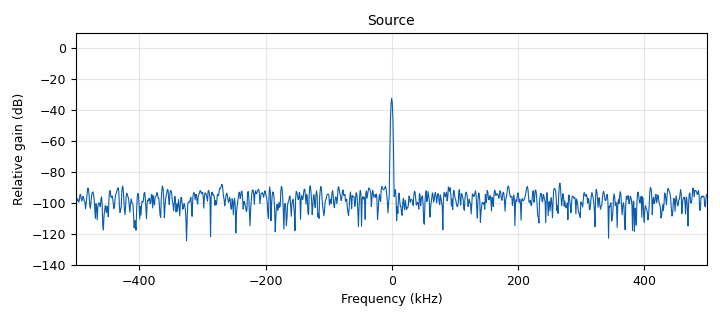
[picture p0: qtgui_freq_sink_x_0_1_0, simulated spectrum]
<?xml version='1.0' encoding='utf-8'?>
<?grc format='1' created='3.7.9'?>
<flow_graph>
<block>
<key>options</key>
<param><key>id</key><value>top_block</value></param>
<param><key>category</key><value>Custom</value></param>
<param><key>generate_options</key><value>qt_gui</value></param>
</block>
<block>
<key>variable_qtgui_entry</key>
<param><key>id</key><value>amp1</value></param>
<param><key>value</key><value>0.1</value></param>
<param><key>gui_hint</key><value>tabA@0</value></param>
<param><key>type</key><value>real</value></param>
</block>
<block>
<key>variable_qtgui_entry</key>
<param><key>id</key><value>amp2</value></param>
<param><key>value</key><value>0.1</value></param>
<param><key>gui_hint</key><value>tabA@0</value></param>
<param><key>type</key><value>real</value></param>
</block>
<block>
<key>variable_qtgui_entry</key>
<param><key>id</key><value>clock_step</value></param>
<param><key>value</key><value>1.0001</value></param>
<param><key>gui_hint</key><value>tabA@0</value></param>
<param><key>type</key><value>real</value></param>
</block>
<block>
<key>variable_qtgui_range</key>
<param><key>id</key><value>freq1</value></param>
<param><key>value</key><value>0</value></param>
<param><key>gui_hint</key><value>tabA@0</value></param>
<param><key>orient</key><value>Qt.Horizontal</value></param>
<param><key>start</key><value>-128</value></param>
<param><key>step</key><value>1</value></param>
<param><key>stop</key><value>128</value></param>
</block>
<block>
<key>variable_qtgui_range</key>
<param><key>id</key><value>freq2</value></param>
<param><key>value</key><value>0</value></param>
<param><key>gui_hint</key><value>tabA@0</value></param>
<param><key>orient</key><value>Qt.Horizontal</value></param>
<param><key>start</key><value>-128</value></param>
<param><key>step</key><value>1</value></param>
<param><key>stop</key><value>128</value></param>
</block>
<block>
<key>variable_qtgui_entry</key>
<param><key>id</key><value>namp</value></param>
<param><key>value</key><value>0.001</value></param>
<param><key>gui_hint</key><value>tabA@0</value></param>
<param><key>type</key><value>real</value></param>
</block>
<block>
<key>variable_qtgui_entry</key>
<param><key>id</key><value>samp_rate</value></param>
<param><key>value</key><value>1e6</value></param>
<param><key>gui_hint</key><value>tabA@0</value></param>
<param><key>type</key><value>real</value></param>
</block>
<block>
<key>variable_uhd_device3</key>
<param><key>id</key><value>variable_uhd_device3_0</value></param>
<param><key>dev_addr</key><value>type=x300</value></param>
<param><key>dev_args</key><value>""</value></param>
</block>
<block>
<key>analog_const_source_x</key>
<param><key>id</key><value>analog_const_source_x_0</value></param>
<param><key>const</key><value>0</value></param>
<param><key>type</key><value>float</value></param>
</block>
<block>
<key>analog_const_source_x</key>
<param><key>id</key><value>analog_const_source_x_0_0</value></param>
<param><key>const</key><value>0</value></param>
<param><key>type</key><value>float</value></param>
</block>
<block>
<key>analog_const_source_x</key>
<param><key>id</key><value>analog_const_source_x_1</value></param>
<param><key>const</key><value>amp2</value></param>
<param><key>type</key><value>float</value></param>
</block>
<block>
<key>analog_fastnoise_source_x</key>
<param><key>id</key><value>analog_fastnoise_source_x_0</value></param>
<param><key>amp</key><value>namp</value></param>
<param><key>noise_type</key><value>analog.GR_GAUSSIAN</value></param>
<param><key>type</key><value>complex</value></param>
<param><key>seed</key><value>0</value></param>
<param><key>samples</key><value>8192</value></param>
</block>
<block>
<key>analog_sig_source_x</key>
<param><key>id</key><value>analog_sig_source_x_0</value></param>
<param><key>amp</key><value>1</value></param>
<param><key>freq</key><value>samp_rate*freq1/256</value></param>
<param><key>offset</key><value>0</value></param>
<param><key>type</key><value>complex</value></param>
<param><key>samp_rate</key><value>samp_rate</value></param>
<param><key>waveform</key><value>analog.GR_COS_WAVE</value></param>
</block>
<block>
<key>analog_sig_source_x</key>
<param><key>id</key><value>analog_sig_source_x_0_0</value></param>
<param><key>amp</key><value>1</value></param>
<param><key>freq</key><value>samp_rate*freq2/256</value></param>
<param><key>offset</key><value>0</value></param>
<param><key>type</key><value>complex</value></param>
<param><key>samp_rate</key><value>samp_rate</value></param>
<param><key>waveform</key><value>analog.GR_COS_WAVE</value></param>
</block>
<block>
<key>analog_sig_source_x</key>
<param><key>id</key><value>analog_sig_source_x_1</value></param>
<param><key>amp</key><value>amp1</value></param>
<param><key>freq</key><value>samp_rate/10000</value></param>
<param><key>offset</key><value>0</value></param>
<param><key>type</key><value>float</value></param>
<param><key>samp_rate</key><value>samp_rate</value></param>
<param><key>waveform</key><value>analog.GR_SIN_WAVE</value></param>
</block>
<block>
<key>blocks_add_xx</key>
<param><key>id</key><value>blocks_add_xx_0</value></param>
<param><key>type</key><value>complex</value></param>
<param><key>num_inputs</key><value>3</value></param>
</block>
<block>
<key>blocks_deinterleave</key>
<param><key>id</key><value>blocks_deinterleave_0_0</value></param>
<param><key>type</key><value>complex</value></param>
<param><key>num_streams</key><value>16</value></param>
</block>
<block>
<key>blocks_deinterleave</key>
<param><key>id</key><value>blocks_deinterleave_0_0_0</value></param>
<param><key>type</key><value>complex</value></param>
<param><key>num_streams</key><value>16</value></param>
</block>
<block>
<key>blocks_float_to_complex</key>
<param><key>id</key><value>blocks_float_to_complex_0</value></param>
</block>
<block>
<key>blocks_float_to_complex</key>
<param><key>id</key><value>blocks_float_to_complex_0_0</value></param>
</block>
<block>
<key>blocks_multiply_xx</key>
<param><key>id</key><value>blocks_multiply_xx_0</value></param>
<param><key>type</key><value>complex</value></param>
</block>
<block>
<key>blocks_multiply_xx</key>
<param><key>id</key><value>blocks_multiply_xx_0_0</value></param>
<param><key>type</key><value>complex</value></param>
</block>
<block>
<key>blocks_null_sink</key>
<param><key>id</key><value>blocks_null_sink_0_0</value></param>
<param><key>bus_conns</key><value>[[0,],]</value></param>
<param><key>type</key><value>complex</value></param>
</block>
<block>
<key>blocks_null_sink</key>
<param><key>id</key><value>blocks_null_sink_0_0_0</value></param>
<param><key>bus_conns</key><value>[[0,],]</value></param>
<param><key>type</key><value>complex</value></param>
</block>
<block>
<key>blocks_null_sink</key>
<param><key>id</key><value>blocks_null_sink_0_0_1</value></param>
<param><key>bus_conns</key><value>[[0,],]</value></param>
<param><key>type</key><value>complex</value></param>
</block>
<block>
<key>blocks_null_sink</key>
<param><key>id</key><value>blocks_null_sink_0_0_2</value></param>
<param><key>bus_conns</key><value>[[0,],]</value></param>
<param><key>type</key><value>complex</value></param>
</block>
<block>
<key>blocks_null_sink</key>
<param><key>id</key><value>blocks_null_sink_0_1</value></param>
<param><key>bus_conns</key><value>[[0,],]</value></param>
<param><key>type</key><value>complex</value></param>
</block>
<block>
<key>blocks_null_sink</key>
<param><key>id</key><value>blocks_null_sink_0_1_0</value></param>
<param><key>bus_conns</key><value>[[0,],]</value></param>
<param><key>type</key><value>complex</value></param>
</block>
<block>
<key>blocks_null_sink</key>
<param><key>id</key><value>blocks_null_sink_0_1_0_0</value></param>
<param><key>bus_conns</key><value>[[0,],]</value></param>
<param><key>type</key><value>complex</value></param>
</block>
<block>
<key>blocks_null_sink</key>
<param><key>id</key><value>blocks_null_sink_0_1_0_0_0</value></param>
<param><key>bus_conns</key><value>[[0,],]</value></param>
<param><key>type</key><value>complex</value></param>
</block>
<block>
<key>blocks_null_sink</key>
<param><key>id</key><value>blocks_null_sink_0_1_0_0_1</value></param>
<param><key>bus_conns</key><value>[[0,],]</value></param>
<param><key>type</key><value>complex</value></param>
</block>
<block>
<key>blocks_null_sink</key>
<param><key>id</key><value>blocks_null_sink_0_1_0_1</value></param>
<param><key>bus_conns</key><value>[[0,],]</value></param>
<param><key>type</key><value>complex</value></param>
</block>
<block>
<key>blocks_null_sink</key>
<param><key>id</key><value>blocks_null_sink_0_1_0_2</value></param>
<param><key>bus_conns</key><value>[[0,],]</value></param>
<param><key>type</key><value>complex</value></param>
</block>
<block>
<key>blocks_null_sink</key>
<param><key>id</key><value>blocks_null_sink_0_1_1</value></param>
<param><key>bus_conns</key><value>[[0,],]</value></param>
<param><key>type</key><value>complex</value></param>
</block>
<block>
<key>blocks_null_sink</key>
<param><key>id</key><value>blocks_null_sink_0_1_2</value></param>
<param><key>bus_conns</key><value>[[0,],]</value></param>
<param><key>type</key><value>complex</value></param>
</block>
<block>
<key>blocks_null_sink</key>
<param><key>id</key><value>blocks_null_sink_0_2</value></param>
<param><key>bus_conns</key><value>[[0,],]</value></param>
<param><key>type</key><value>complex</value></param>
</block>
<block>
<key>blocks_null_sink</key>
<param><key>id</key><value>blocks_null_sink_0_3</value></param>
<param><key>bus_conns</key><value>[[0,],]</value></param>
<param><key>type</key><value>complex</value></param>
</block>
<block>
<key>blocks_throttle</key>
<param><key>id</key><value>blocks_throttle_0</value></param>
<param><key>samples_per_second</key><value>samp_rate</value></param>
<param><key>type</key><value>complex</value></param>
</block>
<block>
<key>qtgui_freq_sink_x</key>
<param><key>id</key><value>qtgui_freq_sink_x_0_1_0</value></param>
<param><key>bw</key><value>samp_rate</value></param>
<param><key>fc</key><value>0</value></param>
<param><key>fftsize</key><value>1024</value></param>
<param><key>gui_hint</key><value>tabB@0</value></param>
<param><key>name</key><value>"Source"</value></param>
<param><key>showports</key><value>True</value></param>
<param><key>type</key><value>complex</value></param>
<param><key>wintype</key><value>firdes.WIN_BLACKMAN_hARRIS</value></param>
</block>
<block>
<key>qtgui_time_sink_x</key>
<param><key>id</key><value>qtgui_time_sink_x_0</value></param>
<param><key>gui_hint</key><value>tabB@1</value></param>
<param><key>color1</key><value>"blue"</value></param>
<param><key>label1</key><value></value></param>
<param><key>color2</key><value>"red"</value></param>
<param><key>label2</key><value></value></param>
<param><key>color3</key><value>"green"</value></param>
<param><key>label3</key><value></value></param>
<param><key>color4</key><value>"black"</value></param>
<param><key>label4</key><value></value></param>
<param><key>color5</key><value>"cyan"</value></param>
<param><key>label5</key><value></value></param>
<param><key>color6</key><value>"magenta"</value></param>
<param><key>label6</key><value></value></param>
<param><key>color7</key><value>"yellow"</value></param>
<param><key>label7</key><value></value></param>
<param><key>color8</key><value>"dark red"</value></param>
<param><key>label8</key><value></value></param>
<param><key>nconnections</key><value>4</value></param>
<param><key>size</key><value>1024</value></param>
<param><key>srate</key><value>samp_rate</value></param>
<param><key>type</key><value>complex</value></param>
</block>
<block>
<key>qtgui_time_sink_x</key>
<param><key>id</key><value>qtgui_time_sink_x_0_0</value></param>
<param><key>gui_hint</key><value>tabB@1</value></param>
<param><key>color1</key><value>"blue"</value></param>
<param><key>label1</key><value></value></param>
<param><key>color2</key><value>"red"</value></param>
<param><key>label2</key><value></value></param>
<param><key>color3</key><value>"green"</value></param>
<param><key>label3</key><value></value></param>
<param><key>color4</key><value>"black"</value></param>
<param><key>label4</key><value></value></param>
<param><key>color5</key><value>"cyan"</value></param>
<param><key>label5</key><value></value></param>
<param><key>color6</key><value>"magenta"</value></param>
<param><key>label6</key><value></value></param>
<param><key>color7</key><value>"yellow"</value></param>
<param><key>label7</key><value></value></param>
<param><key>color8</key><value>"dark red"</value></param>
<param><key>label8</key><value></value></param>
<param><key>nconnections</key><value>4</value></param>
<param><key>size</key><value>1024</value></param>
<param><key>srate</key><value>samp_rate</value></param>
<param><key>type</key><value>complex</value></param>
</block>
<block>
<key>qtgui_time_sink_x</key>
<param><key>id</key><value>qtgui_time_sink_x_0_0_0</value></param>
<param><key>gui_hint</key><value>tabB@1</value></param>
<param><key>color1</key><value>"blue"</value></param>
<param><key>label1</key><value></value></param>
<param><key>color2</key><value>"red"</value></param>
<param><key>label2</key><value></value></param>
<param><key>color3</key><value>"green"</value></param>
<param><key>label3</key><value></value></param>
<param><key>color4</key><value>"black"</value></param>
<param><key>label4</key><value></value></param>
<param><key>color5</key><value>"cyan"</value></param>
<param><key>label5</key><value></value></param>
<param><key>color6</key><value>"magenta"</value></param>
<param><key>label6</key><value></value></param>
<param><key>color7</key><value>"yellow"</value></param>
<param><key>label7</key><value></value></param>
<param><key>color8</key><value>"dark red"</value></param>
<param><key>label8</key><value></value></param>
<param><key>nconnections</key><value>4</value></param>
<param><key>size</key><value>1024</value></param>
<param><key>srate</key><value>samp_rate</value></param>
<param><key>type</key><value>complex</value></param>
</block>
<block>
<key>qtgui_time_sink_x</key>
<param><key>id</key><value>qtgui_time_sink_x_0_0_0_0</value></param>
<param><key>gui_hint</key><value>tabB@1</value></param>
<param><key>color1</key><value>"blue"</value></param>
<param><key>label1</key><value></value></param>
<param><key>color2</key><value>"red"</value></param>
<param><key>label2</key><value></value></param>
<param><key>color3</key><value>"green"</value></param>
<param><key>label3</key><value></value></param>
<param><key>color4</key><value>"black"</value></param>
<param><key>label4</key><value></value></param>
<param><key>color5</key><value>"cyan"</value></param>
<param><key>label5</key><value></value></param>
<param><key>color6</key><value>"magenta"</value></param>
<param><key>label6</key><value></value></param>
<param><key>color7</key><value>"yellow"</value></param>
<param><key>label7</key><value></value></param>
<param><key>color8</key><value>"dark red"</value></param>
<param><key>label8</key><value></value></param>
<param><key>nconnections</key><value>4</value></param>
<param><key>size</key><value>1024</value></param>
<param><key>srate</key><value>samp_rate</value></param>
<param><key>type</key><value>complex</value></param>
</block>
<block>
<key>qtgui_time_sink_x</key>
<param><key>id</key><value>qtgui_time_sink_x_0_1</value></param>
<param><key>_enabled</key><value>0</value></param>
<param><key>gui_hint</key><value>tabB@1</value></param>
<param><key>color1</key><value>"blue"</value></param>
<param><key>label1</key><value></value></param>
<param><key>marker1</key><value>1</value></param>
<param><key>style1</key><value>0</value></param>
<param><key>color2</key><value>"green"</value></param>
<param><key>label2</key><value></value></param>
<param><key>marker2</key><value>7</value></param>
<param><key>style2</key><value>0</value></param>
<param><key>size</key><value>1024</value></param>
<param><key>srate</key><value>samp_rate</value></param>
<param><key>type</key><value>complex</value></param>
</block>
<block>
<key>qtgui_tab_widget</key>
<param><key>id</key><value>tabA</value></param>
<param><key>label0</key><value>settings</value></param>
<param><key>num_tabs</key><value>1</value></param>
</block>
<block>
<key>qtgui_tab_widget</key>
<param><key>id</key><value>tabB</value></param>
<param><key>label0</key><value>input frequency domain </value></param>
<param><key>label1</key><value>output time domain</value></param>
<param><key>label2</key><value>output frequency domain </value></param>
<param><key>num_tabs</key><value>3</value></param>
</block>
<block>
<key>uhd_rfnoc_streamer_channelizer256</key>
<param><key>id</key><value>uhd_rfnoc_streamer_channelizer256_0</value></param>
<param><key>block_index</key><value>-1</value></param>
<param><key>device_index</key><value>-1</value></param>
</block>
<block>
<key>uhd_rfnoc_streamer_interpolator</key>
<param><key>id</key><value>uhd_rfnoc_streamer_interpolator_0</value></param>
<param><key>device_index</key><value>-1</value></param>
<param><key>block_index</key><value>-1</value></param>
<param><key>clock_step</key><value>clock_step</value></param>
<param><key>input_mux</key><value>0</value></param>
<param><key>reset</key><value>0</value></param>
</block>
<connection><source_block_id>analog_const_source_x_0</source_block_id><sink_block_id>blocks_float_to_complex_0</sink_block_id><source_key>0</source_key><sink_key>0</sink_key></connection>
<connection><source_block_id>analog_const_source_x_0_0</source_block_id><sink_block_id>blocks_float_to_complex_0_0</sink_block_id><source_key>0</source_key><sink_key>0</sink_key></connection>
<connection><source_block_id>analog_const_source_x_1</source_block_id><sink_block_id>blocks_float_to_complex_0_0</sink_block_id><source_key>0</source_key><sink_key>1</sink_key></connection>
<connection><source_block_id>analog_fastnoise_source_x_0</source_block_id><sink_block_id>blocks_add_xx_0</sink_block_id><source_key>0</source_key><sink_key>2</sink_key></connection>
<connection><source_block_id>analog_sig_source_x_0</source_block_id><sink_block_id>blocks_multiply_xx_0</sink_block_id><source_key>0</source_key><sink_key>0</sink_key></connection>
<connection><source_block_id>analog_sig_source_x_0_0</source_block_id><sink_block_id>blocks_multiply_xx_0_0</sink_block_id><source_key>0</source_key><sink_key>0</sink_key></connection>
<connection><source_block_id>analog_sig_source_x_1</source_block_id><sink_block_id>blocks_float_to_complex_0</sink_block_id><source_key>0</source_key><sink_key>1</sink_key></connection>
<connection><source_block_id>blocks_add_xx_0</source_block_id><sink_block_id>qtgui_freq_sink_x_0_1_0</sink_block_id><source_key>0</source_key><sink_key>0</sink_key></connection>
<connection><source_block_id>blocks_add_xx_0</source_block_id><sink_block_id>uhd_rfnoc_streamer_interpolator_0</sink_block_id><source_key>0</source_key><sink_key>0</sink_key></connection>
<connection><source_block_id>blocks_deinterleave_0_0</source_block_id><sink_block_id>blocks_null_sink_0_0_2</sink_block_id><source_key>0</source_key><sink_key>0</sink_key></connection>
<connection><source_block_id>blocks_deinterleave_0_0</source_block_id><sink_block_id>blocks_deinterleave_0_0_0</sink_block_id><source_key>1</source_key><sink_key>0</sink_key></connection>
<connection><source_block_id>blocks_deinterleave_0_0</source_block_id><sink_block_id>blocks_null_sink_0_1_0_0_0</sink_block_id><source_key>10</source_key><sink_key>0</sink_key></connection>
<connection><source_block_id>blocks_deinterleave_0_0</source_block_id><sink_block_id>blocks_null_sink_0_3</sink_block_id><source_key>11</source_key><sink_key>0</sink_key></connection>
<connection><source_block_id>blocks_deinterleave_0_0</source_block_id><sink_block_id>blocks_null_sink_0_0_1</sink_block_id><source_key>12</source_key><sink_key>0</sink_key></connection>
<connection><source_block_id>blocks_deinterleave_0_0</source_block_id><sink_block_id>blocks_null_sink_0_1_2</sink_block_id><source_key>13</source_key><sink_key>0</sink_key></connection>
<connection><source_block_id>blocks_deinterleave_0_0</source_block_id><sink_block_id>blocks_null_sink_0_1_0_2</sink_block_id><source_key>14</source_key><sink_key>0</sink_key></connection>
<connection><source_block_id>blocks_deinterleave_0_0</source_block_id><sink_block_id>blocks_null_sink_0_1_0_0_1</sink_block_id><source_key>15</source_key><sink_key>0</sink_key></connection>
<connection><source_block_id>blocks_deinterleave_0_0</source_block_id><sink_block_id>blocks_null_sink_0_0</sink_block_id><source_key>2</source_key><sink_key>0</sink_key></connection>
<connection><source_block_id>blocks_deinterleave_0_0</source_block_id><sink_block_id>blocks_null_sink_0_1</sink_block_id><source_key>3</source_key><sink_key>0</sink_key></connection>
<connection><source_block_id>blocks_deinterleave_0_0</source_block_id><sink_block_id>blocks_null_sink_0_1_0</sink_block_id><source_key>4</source_key><sink_key>0</sink_key></connection>
<connection><source_block_id>blocks_deinterleave_0_0</source_block_id><sink_block_id>blocks_null_sink_0_1_0_0</sink_block_id><source_key>5</source_key><sink_key>0</sink_key></connection>
<connection><source_block_id>blocks_deinterleave_0_0</source_block_id><sink_block_id>blocks_null_sink_0_2</sink_block_id><source_key>6</source_key><sink_key>0</sink_key></connection>
<connection><source_block_id>blocks_deinterleave_0_0</source_block_id><sink_block_id>blocks_null_sink_0_0_0</sink_block_id><source_key>7</source_key><sink_key>0</sink_key></connection>
<connection><source_block_id>blocks_deinterleave_0_0</source_block_id><sink_block_id>blocks_null_sink_0_1_1</sink_block_id><source_key>8</source_key><sink_key>0</sink_key></connection>
<connection><source_block_id>blocks_deinterleave_0_0</source_block_id><sink_block_id>blocks_null_sink_0_1_0_1</sink_block_id><source_key>9</source_key><sink_key>0</sink_key></connection>
<connection><source_block_id>blocks_deinterleave_0_0_0</source_block_id><sink_block_id>qtgui_time_sink_x_0</sink_block_id><source_key>0</source_key><sink_key>0</sink_key></connection>
<connection><source_block_id>blocks_deinterleave_0_0_0</source_block_id><sink_block_id>qtgui_time_sink_x_0</sink_block_id><source_key>1</source_key><sink_key>1</sink_key></connection>
<connection><source_block_id>blocks_deinterleave_0_0_0</source_block_id><sink_block_id>qtgui_time_sink_x_0_0_0</sink_block_id><source_key>10</source_key><sink_key>2</sink_key></connection>
<connection><source_block_id>blocks_deinterleave_0_0_0</source_block_id><sink_block_id>qtgui_time_sink_x_0_0_0</sink_block_id><source_key>11</source_key><sink_key>3</sink_key></connection>
<connection><source_block_id>blocks_deinterleave_0_0_0</source_block_id><sink_block_id>qtgui_time_sink_x_0_0_0_0</sink_block_id><source_key>12</source_key><sink_key>0</sink_key></connection>
<connection><source_block_id>blocks_deinterleave_0_0_0</source_block_id><sink_block_id>qtgui_time_sink_x_0_0_0_0</sink_block_id><source_key>13</source_key><sink_key>1</sink_key></connection>
<connection><source_block_id>blocks_deinterleave_0_0_0</source_block_id><sink_block_id>qtgui_time_sink_x_0_0_0_0</sink_block_id><source_key>14</source_key><sink_key>2</sink_key></connection>
<connection><source_block_id>blocks_deinterleave_0_0_0</source_block_id><sink_block_id>qtgui_time_sink_x_0_0_0_0</sink_block_id><source_key>15</source_key><sink_key>3</sink_key></connection>
<connection><source_block_id>blocks_deinterleave_0_0_0</source_block_id><sink_block_id>qtgui_time_sink_x_0</sink_block_id><source_key>2</source_key><sink_key>2</sink_key></connection>
<connection><source_block_id>blocks_deinterleave_0_0_0</source_block_id><sink_block_id>qtgui_time_sink_x_0</sink_block_id><source_key>3</source_key><sink_key>3</sink_key></connection>
<connection><source_block_id>blocks_deinterleave_0_0_0</source_block_id><sink_block_id>qtgui_time_sink_x_0_0</sink_block_id><source_key>4</source_key><sink_key>0</sink_key></connection>
<connection><source_block_id>blocks_deinterleave_0_0_0</source_block_id><sink_block_id>qtgui_time_sink_x_0_0</sink_block_id><source_key>5</source_key><sink_key>1</sink_key></connection>
<connection><source_block_id>blocks_deinterleave_0_0_0</source_block_id><sink_block_id>qtgui_time_sink_x_0_0</sink_block_id><source_key>6</source_key><sink_key>2</sink_key></connection>
<connection><source_block_id>blocks_deinterleave_0_0_0</source_block_id><sink_block_id>qtgui_time_sink_x_0_0</sink_block_id><source_key>7</source_key><sink_key>3</sink_key></connection>
<connection><source_block_id>blocks_deinterleave_0_0_0</source_block_id><sink_block_id>qtgui_time_sink_x_0_0_0</sink_block_id><source_key>8</source_key><sink_key>0</sink_key></connection>
<connection><source_block_id>blocks_deinterleave_0_0_0</source_block_id><sink_block_id>qtgui_time_sink_x_0_0_0</sink_block_id><source_key>9</source_key><sink_key>1</sink_key></connection>
<connection><source_block_id>blocks_float_to_complex_0</source_block_id><sink_block_id>blocks_multiply_xx_0</sink_block_id><source_key>0</source_key><sink_key>1</sink_key></connection>
<connection><source_block_id>blocks_float_to_complex_0_0</source_block_id><sink_block_id>blocks_multiply_xx_0_0</sink_block_id><source_key>0</source_key><sink_key>1</sink_key></connection>
<connection><source_block_id>blocks_multiply_xx_0</source_block_id><sink_block_id>blocks_add_xx_0</sink_block_id><source_key>0</source_key><sink_key>0</sink_key></connection>
<connection><source_block_id>blocks_multiply_xx_0_0</source_block_id><sink_block_id>blocks_add_xx_0</sink_block_id><source_key>0</source_key><sink_key>1</sink_key></connection>
<connection><source_block_id>blocks_throttle_0</source_block_id><sink_block_id>blocks_deinterleave_0_0</sink_block_id><source_key>0</source_key><sink_key>0</sink_key></connection>
<connection><source_block_id>blocks_throttle_0</source_block_id><sink_block_id>qtgui_time_sink_x_0_1</sink_block_id><source_key>0</source_key><sink_key>0</sink_key></connection>
<connection><source_block_id>uhd_rfnoc_streamer_channelizer256_0</source_block_id><sink_block_id>blocks_throttle_0</sink_block_id><source_key>0</source_key><sink_key>0</sink_key></connection>
<connection><source_block_id>uhd_rfnoc_streamer_interpolator_0</source_block_id><sink_block_id>uhd_rfnoc_streamer_channelizer256_0</sink_block_id><source_key>0</source_key><sink_key>0</sink_key></connection>
</flow_graph>
